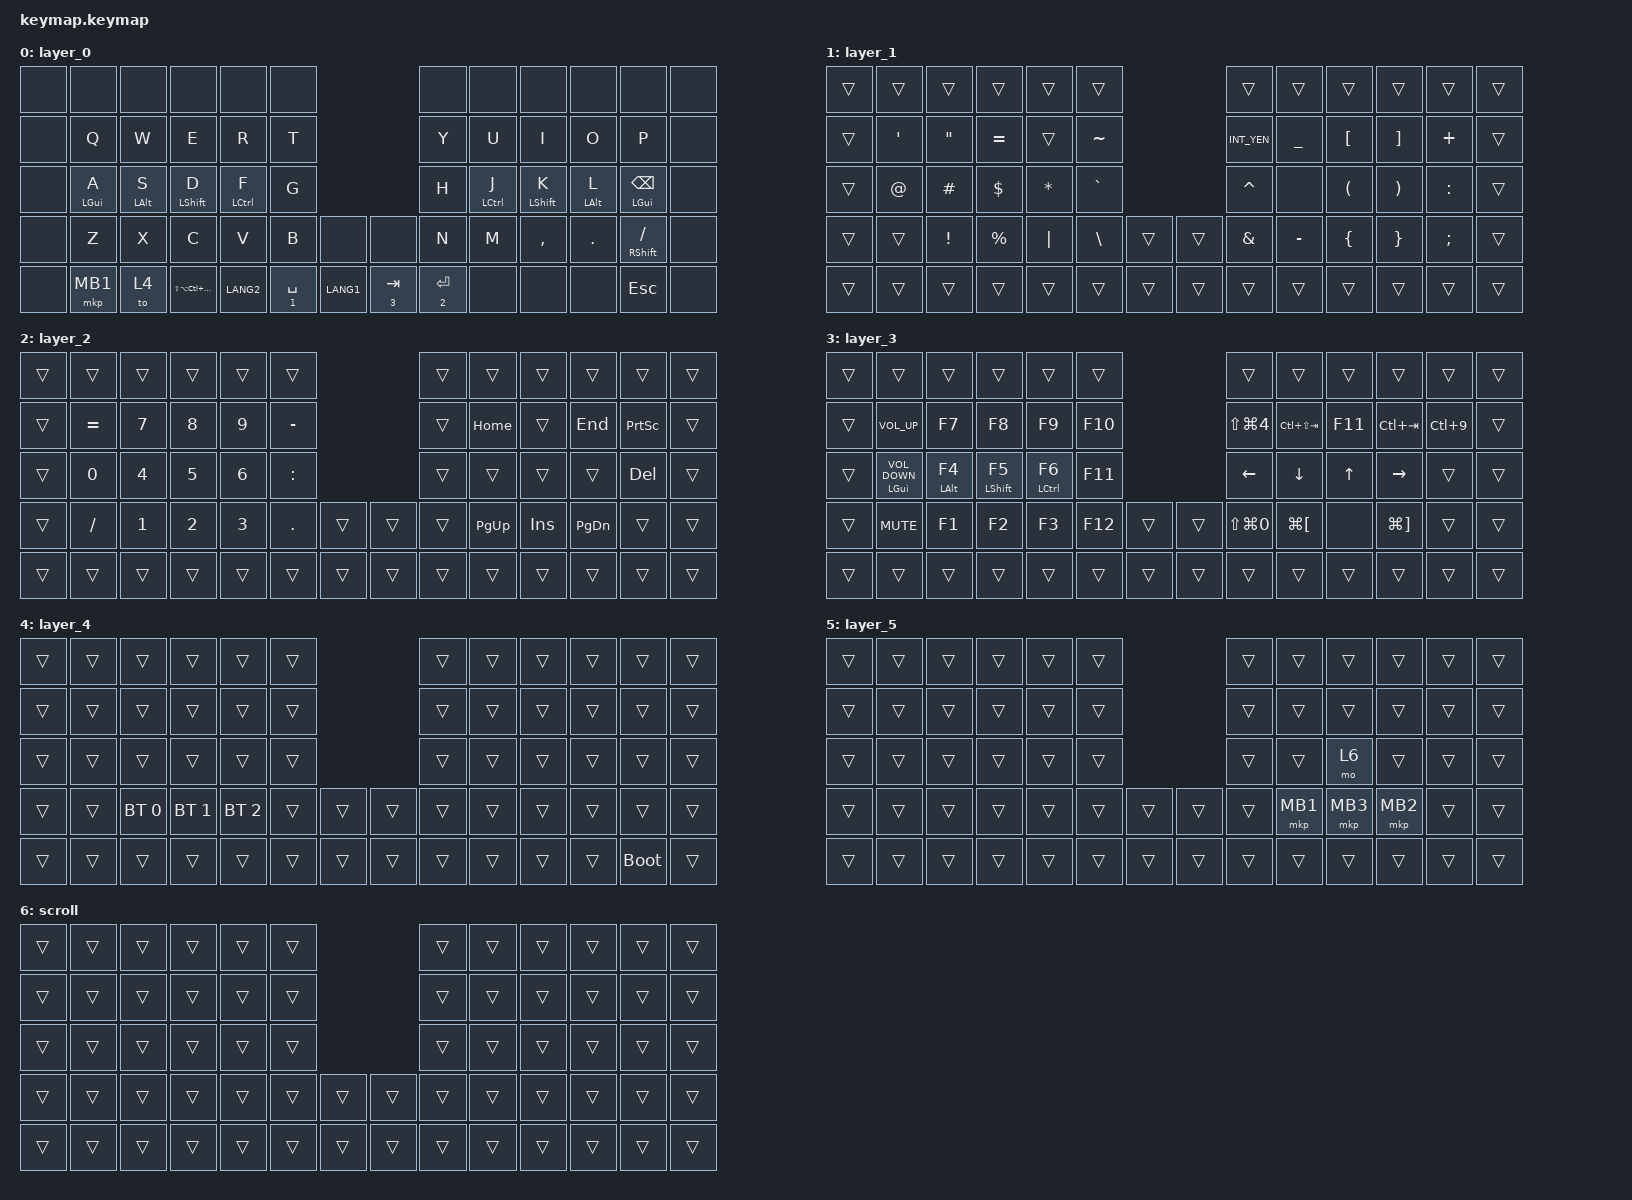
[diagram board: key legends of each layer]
#include <behaviors.dtsi>
#include <dt-bindings/zmk/bt.h>
#include <dt-bindings/zmk/keys.h>
#include <dt-bindings/zmk/pointing.h>

/ {
    combos { compatible = "zmk,combos"; };

    behaviors {
        nmt: nmt {
            compatible = "zmk,behavior-hold-tap";
            label = "NMT";
            bindings = <&kp>, <&kp>;

            #binding-cells = <2>;
            tapping-term-ms = <200>;
            flavor = "tap-preferred";
        };

        nlt: nlt {
            compatible = "zmk,behavior-hold-tap";
            label = "NLT";
            bindings = <&lt>, <&kp>;

            #binding-cells = <2>;
            flavor = "tap-preferred";
            tapping-term-ms = <200>;
        };

        new_behavior: new_behavior {
            compatible = "zmk,behavior-sensor-rotate";
            label = "NEW_BEHAVIOR";
            #sensor-binding-cells = <0>;
            bindings = <&msc MOVE_Y(20)>, <&msc MOVE_Y(-20)>;
        };
    };

    keymap {
        compatible = "zmk,keymap";

        layer_0 {
            bindings = <
&none  &none            &none            &none                     &none                &none                                &none         &none                &none              &none            &none                    &none
&none  &kp Q            &kp W            &kp E                     &kp R                &kp T                                &kp Y         &kp U                &kp I              &kp O            &kp P                    &none
&none  &nmt LEFT_GUI A  &nmt LEFT_ALT S  &nmt LEFT_SHIFT D         &nmt LEFT_CONTROL F  &kp G                                &kp H         &nmt LEFT_CONTROL J  &nmt LEFT_SHIFT K  &nmt LEFT_ALT L  &nmt LEFT_GUI BACKSPACE  &none
&none  &kp Z            &kp X            &kp C                     &kp V                &kp B         &none      &none       &kp N         &kp M                &kp COMMA          &kp DOT          &mt RIGHT_SHIFT FSLH     &none
&none  &mkp MB1         &to 4            &kp LS(LA(LC(LG(LALT))))  &kp LANG2            &nlt 1 SPACE  &kp LANG1  &nlt 3 TAB  &nlt 2 ENTER  &none                &none              &none            &kp ESCAPE               &none
            >;
        };

        layer_1 {
            bindings = <
&trans  &trans            &trans             &trans       &trans        &trans                         &trans         &trans          &trans                &trans                 &trans         &trans
&trans  &kp SINGLE_QUOTE  &kp DOUBLE_QUOTES  &kp EQUAL    &trans        &kp TILDE                      &kp INT_YEN    &kp UNDERSCORE  &kp LEFT_BRACKET      &kp RIGHT_BRACKET      &kp PLUS       &trans
&trans  &kp AT_SIGN       &kp HASH           &kp DOLLAR   &kp ASTERISK  &kp GRAVE                      &kp CARET      &none           &kp LEFT_PARENTHESIS  &kp RIGHT_PARENTHESIS  &kp COLON      &trans
&trans  &trans            &kp EXCLAMATION    &kp PERCENT  &kp PIPE      &kp BACKSLASH  &trans  &trans  &kp AMPERSAND  &kp MINUS       &kp LEFT_BRACE        &kp RIGHT_BRACE        &kp SEMICOLON  &trans
&trans  &trans            &trans             &trans       &trans        &trans         &trans  &trans  &trans         &trans          &trans                &trans                 &trans         &trans
            >;
        };

        layer_2 {
            bindings = <
&trans  &trans     &trans  &trans  &trans  &trans                      &trans  &trans       &trans   &trans         &trans           &trans
&trans  &kp EQUAL  &kp N7  &kp N8  &kp N9  &kp MINUS                   &trans  &kp HOME     &trans   &kp END        &kp PRINTSCREEN  &trans
&trans  &kp N0     &kp N4  &kp N5  &kp N6  &kp COLON                   &trans  &trans       &trans   &trans         &kp DEL          &trans
&trans  &kp SLASH  &kp N1  &kp N2  &kp N3  &kp PERIOD  &trans  &trans  &trans  &kp PAGE_UP  &kp INS  &kp PAGE_DOWN  &trans           &trans
&trans  &trans     &trans  &trans  &trans  &trans      &trans  &trans  &trans  &trans       &trans   &trans         &trans           &trans
            >;
        };

        layer_3 {
            bindings = <
&trans  &trans                       &trans            &trans              &trans                &trans                   &trans          &trans                &trans        &trans                 &trans      &trans
&trans  &kp C_VOLUME_UP              &kp F7            &kp F8              &kp F9                &kp F10                  &kp LS(LG(N4))  &kp LC(LS(TAB))       &kp F11       &kp LC(TAB)            &kp LC(N9)  &trans
&trans  &nmt LEFT_GUI C_VOLUME_DOWN  &nmt LEFT_ALT F4  &nmt LEFT_SHIFT F5  &nmt LEFT_CONTROL F6  &kp F11                  &kp LEFT        &kp DOWN              &kp UP_ARROW  &kp RIGHT              &trans      &trans
&trans  &kp K_MUTE                   &kp F1            &kp F2              &kp F3                &kp F12  &trans  &trans  &kp LS(LG(N0))  &kp LG(LEFT_BRACKET)  &none         &kp LG(RIGHT_BRACKET)  &trans      &trans
&trans  &trans                       &trans            &trans              &trans                &trans   &trans  &trans  &trans          &trans                &trans        &trans                 &trans      &trans
            >;
        };

        layer_4 {
            bindings = <
&trans  &trans  &trans        &trans        &trans        &trans                  &trans  &trans  &trans  &trans  &trans       &trans
&trans  &trans  &trans        &trans        &trans        &trans                  &trans  &trans  &trans  &trans  &trans       &trans
&trans  &trans  &trans        &trans        &trans        &trans                  &trans  &trans  &trans  &trans  &trans       &trans
&trans  &trans  &bt BT_SEL 0  &bt BT_SEL 1  &bt BT_SEL 2  &trans  &trans  &trans  &trans  &trans  &trans  &trans  &trans       &trans
&trans  &trans  &trans        &trans        &trans        &trans  &trans  &trans  &trans  &trans  &trans  &trans  &bootloader  &trans
            >;
        };

        layer_5 {
            bindings = <
&trans  &trans  &trans  &trans  &trans  &trans                  &trans  &trans    &trans    &trans    &trans  &trans
&trans  &trans  &trans  &trans  &trans  &trans                  &trans  &trans    &trans    &trans    &trans  &trans
&trans  &trans  &trans  &trans  &trans  &trans                  &trans  &trans    &mo 6     &trans    &trans  &trans
&trans  &trans  &trans  &trans  &trans  &trans  &trans  &trans  &trans  &mkp MB1  &mkp MB3  &mkp MB2  &trans  &trans
&trans  &trans  &trans  &trans  &trans  &trans  &trans  &trans  &trans  &trans    &trans    &trans    &trans  &trans
            >;
        };

        scroll {
            bindings = <
&trans  &trans  &trans  &trans  &trans  &trans                  &trans  &trans  &trans  &trans  &trans  &trans
&trans  &trans  &trans  &trans  &trans  &trans                  &trans  &trans  &trans  &trans  &trans  &trans
&trans  &trans  &trans  &trans  &trans  &trans                  &trans  &trans  &trans  &trans  &trans  &trans
&trans  &trans  &trans  &trans  &trans  &trans  &trans  &trans  &trans  &trans  &trans  &trans  &trans  &trans
&trans  &trans  &trans  &trans  &trans  &trans  &trans  &trans  &trans  &trans  &trans  &trans  &trans  &trans
            >;
        };
    };
};
